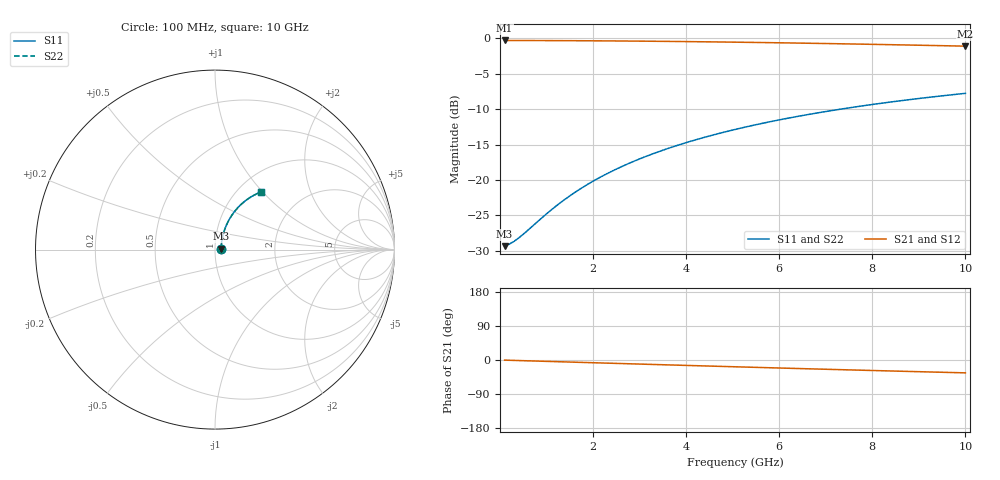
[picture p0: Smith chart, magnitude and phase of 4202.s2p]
# Hz S RI R 50.00
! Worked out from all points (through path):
!   100 points, 100 MHz to 10 GHz, reference 50 ohm
!   highest |S21| = -0.30 dB at 100 MHz (marker M1); lowest = -1.1 dB at 10 GHz (marker M2)
!   group delay of S21, straight-line fit = 9.46 ps
!   lowest |S11| = -29.4 dB at 100 MHz (marker M3), VSWR 1.07, Z = 53.5 + j0.47 ohm
!   |S11| at or under -10 dB: start of sweep to 7.324 GHz
!   |S22| runs from -29.4 to -7.8 dB; largest |S21 - S12| = 0
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1e8  0.0338 0.00439  0.9662 -0.00608  0.9662 -0.00608  0.0338 0.00439
2e8  0.0341 0.00878  0.9659 -0.0122  0.9659 -0.0122  0.0341 0.00878
3e8  0.0343 0.0132  0.9656 -0.0182  0.9656 -0.0182  0.0343 0.0132
4e8  0.0347 0.0175  0.9653 -0.0243  0.9653 -0.0243  0.0347 0.0175
1e9  0.0375 0.0437  0.9623 -0.0606  0.9623 -0.0606  0.0375 0.0437
1.2e9  0.0388 0.0523  0.961 -0.0726  0.961 -0.0726  0.0388 0.0523
1.5e9  0.0412 0.0652  0.9585 -0.0906  0.9585 -0.0906  0.0412 0.0652
1.8e9  0.044 0.0779  0.9555 -0.1084  0.9555 -0.1084  0.044 0.0779
2.1e9  0.0473 0.0905  0.952 -0.1261  0.952 -0.1261  0.0473 0.0905
2.5e9  0.0524 0.1071  0.9467 -0.1495  0.9467 -0.1495  0.0524 0.1071
2.9e9  0.0583 0.1233  0.9405 -0.1725  0.9405 -0.1725  0.0583 0.1233
3.4e9  0.0667 0.143  0.9316 -0.2007  0.9316 -0.2007  0.0667 0.143
3.8e9  0.0742 0.1583  0.9236 -0.2228  0.9236 -0.2228  0.0742 0.1583
4.2e9  0.0824 0.1732  0.9149 -0.2444  0.9149 -0.2444  0.0824 0.1732
4.6e9  0.0913 0.1875  0.9056 -0.2656  0.9056 -0.2656  0.0913 0.1875
5.1e9  0.1032 0.2046  0.8929 -0.2912  0.8929 -0.2912  0.1032 0.2046
5.9e9  0.1241 0.2301  0.8707 -0.3304  0.8707 -0.3304  0.1241 0.2301
6.7e9  0.1469 0.2531  0.8463 -0.3672  0.8463 -0.3672  0.1469 0.2531
7.5e9  0.1713 0.2735  0.8202 -0.4014  0.8202 -0.4014  0.1713 0.2735
8.4e9  0.2002 0.2933  0.7892 -0.4368  0.7892 -0.4368  0.2002 0.2933
9.2e9  0.2268 0.3081  0.7604 -0.4654  0.7604 -0.4654  0.2268 0.3081
1e10  0.254 0.3202  0.7308 -0.4915  0.7308 -0.4915  0.254 0.3202
